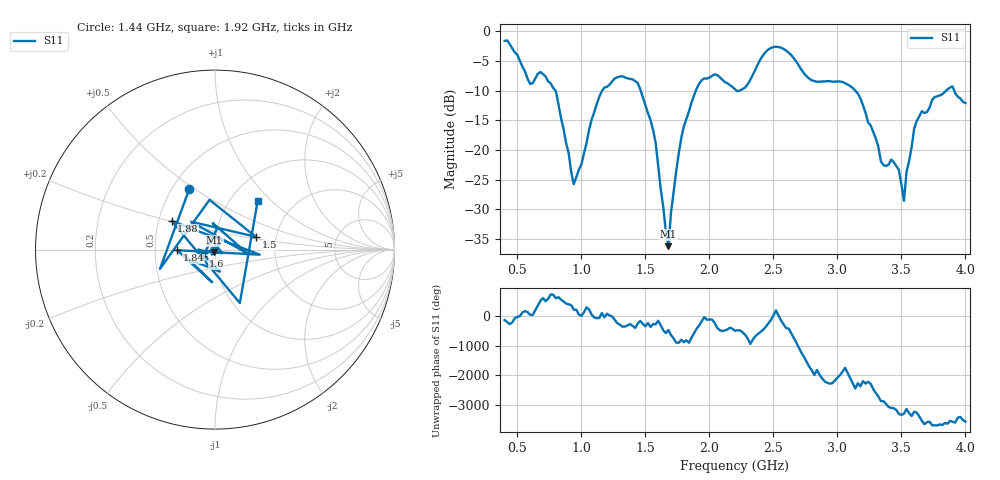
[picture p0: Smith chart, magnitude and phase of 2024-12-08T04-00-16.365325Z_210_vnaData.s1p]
!Created with skrf (http://scikit-rf.org).
# Hz S RI R 50.0
!freq ReS11 ImS11
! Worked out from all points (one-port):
!   181 points, 400 MHz to 4 GHz, reference 50 ohm
!   lowest |S11| = -36.2 dB at 1.68 GHz (marker M1), VSWR 1.03, Z = 49.5 - j1.46 ohm
!   |S11| at or under -10 dB: 798.3 MHz to 1.162 GHz (364.2 MHz wide, 37.1 % of centre); 1.464 GHz to 1.894 GHz (430.6 MHz wide, 25.7 % of centre); 3.14 GHz to 3.85 GHz (709.7 MHz wide, 20.3 % of centre) (the widest 3 of 5)
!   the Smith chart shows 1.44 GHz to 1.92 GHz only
!   S11 on the Smith chart (normalised r, x): 1.44 GHz: 0.61, +0.47; 1.5 GHz: 1.57, +0.24; 1.6 GHz: 0.88, -0.06; 1.84 GHz: 0.65, -0.00; 1.88 GHz: 0.59, +0.20; 1.92 GHz: 1.33, +0.83
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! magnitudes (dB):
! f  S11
! 400 MHz  -1.6
! 600 MHz  -8.9
! 680 MHz  -6.9
! 800 MHz  -10.0
! 860 MHz  -16.4
! 940 MHz  -25.8
! 1.14 GHz  -11.0
! 1.3 GHz  -7.6
! 1.44 GHz  -8.7
! 1.5 GHz  -12.5
! 1.6 GHz  -22.7
! 1.68 GHz  -36.2
! 1.76 GHz  -20.7
! 1.84 GHz  -13.5
! 1.88 GHz  -10.8
! 1.92 GHz  -8.8
! 2.2 GHz  -9.8
! 2.48 GHz  -2.8
! 2.66 GHz  -4.6
! 3.1 GHz  -9.2
! 3.34 GHz  -21.9
! 3.48 GHz  -23.3
! 3.52 GHz  -28.6
! 3.56 GHz  -21.9
! 3.62 GHz  -15.1
! 3.76 GHz  -11.1
! 3.9 GHz  -9.3
! 4 GHz  -12.1
